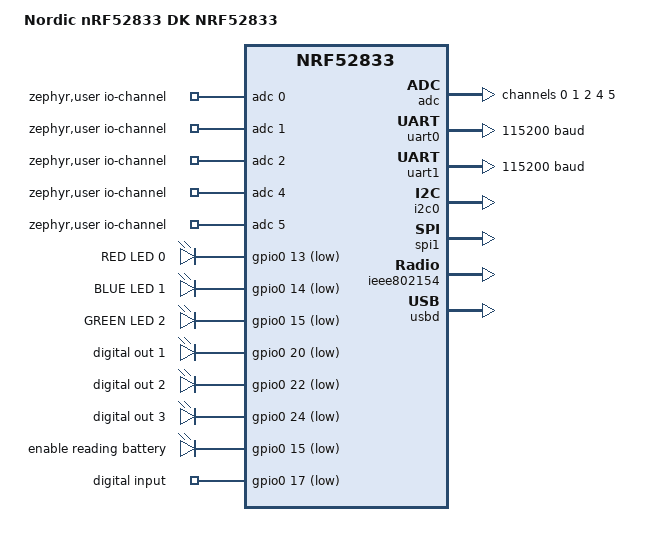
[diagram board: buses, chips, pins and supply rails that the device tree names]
/*
 * Copyright (c) 2019 Nordic Semiconductor ASA
 *
 * SPDX-License-Identifier: Apache-2.0
 */

/dts-v1/;
#include <nordic/nrf52833_qiaa.dtsi>
#include "tautek-pinctrl.dtsi"

/ {
	model = "Nordic nRF52833 DK NRF52833";
	compatible = "nordic,nrf52833-dk-nrf52833";

	chosen {
		zephyr,console = &uart0;
		zephyr,shell-uart = &uart0;
		zephyr,uart-mcumgr = &uart0;
		zephyr,bt-mon-uart = &uart0;
		zephyr,bt-c2h-uart = &uart0;
		zephyr,sram = &sram0;
		zephyr,flash = &flash0;
		zephyr,code-partition = &slot0_partition;
		zephyr,ieee802154 = &ieee802154;
	};

	zephyr,user {
		io-channels = <&adc 0>, <&adc 1>, <&adc 2>, <&adc 4>, <&adc 5>;
	};

	leds {
		compatible = "gpio-leds";
		red_led: red_led {
			gpios = <&gpio0 13 GPIO_ACTIVE_LOW>;
			label = "RED LED 0";
		};
		blue_led: blue_led {
			gpios = <&gpio0 14 GPIO_ACTIVE_LOW>;
			label = "BLUE LED 1";
		};
		green_led: green_led {
			gpios = <&gpio0 15 GPIO_ACTIVE_LOW>;
			label = "GREEN LED 2";
		};
		dout1: dout_1 {
			gpios = <&gpio0 20 GPIO_ACTIVE_LOW>;
			label = "digital out 1";
		};
		dout2: dout_2 {
			gpios = <&gpio0 22 GPIO_ACTIVE_LOW>;
			label = "digital out 2";
		};
		dout3: dout_3 {
			gpios = <&gpio0 24 GPIO_ACTIVE_LOW>;
			label = "digital out 3";
		};
		readbat: read_bat {
			gpios = <&gpio0 15 GPIO_ACTIVE_LOW>;
			label = "enable reading battery";
		};
	};

	buttons {
		compatible = "gpio-keys";
		din: din {
			gpios = <&gpio0 17 (GPIO_PULL_UP | GPIO_ACTIVE_LOW)>;
			label = "digital input";
		};
	};
	/* These aliases are provided for compatibility with samples */
	aliases {
		redled = &red_led;
		blueled = &blue_led;
		greenled = &green_led;
		din = &din;
		dout1 = &dout1;
		dout2 = &dout2;
		dout3 = &dout3;
		readbat = &readbat;
		bootloader-led0 = &red_led;
		mcuboot-button0 = &din;
		mcuboot-led0 = &red_led;
		watchdog0 = &wdt0;
	};
};

&adc {
	status = "okay";

	#address-cells = <1>;
	#size-cells = <0>;

	channel@0 { //input range is 0 - 3.6V
		reg = <0>;
		zephyr,gain = "ADC_GAIN_1_6";
		zephyr,reference = "ADC_REF_INTERNAL";
		zephyr,acquisition-time = <ADC_ACQ_TIME_DEFAULT>;
		zephyr,input-positive = <NRF_SAADC_AIN0>; /* P0.02 */
		zephyr,resolution = <12>;
	};

	channel@1 {
		reg = <1>;
		zephyr,gain = "ADC_GAIN_1_6";
		zephyr,reference = "ADC_REF_INTERNAL";
		zephyr,acquisition-time = <ADC_ACQ_TIME_DEFAULT>;
		zephyr,input-positive = <NRF_SAADC_AIN1>; /* P0.03 */
		zephyr,resolution = <12>;
	};

	channel@2 {
		reg = <2>;
		zephyr,gain = "ADC_GAIN_1_6";
		zephyr,reference = "ADC_REF_INTERNAL";
		zephyr,acquisition-time = <ADC_ACQ_TIME_DEFAULT>;
		zephyr,input-positive = <NRF_SAADC_AIN2>; /* P0.04 */
		zephyr,resolution = <12>;
	};

	channel@4 {
		reg = <4>;
		zephyr,gain = "ADC_GAIN_1_6";
		zephyr,reference = "ADC_REF_INTERNAL";
		zephyr,acquisition-time = <ADC_ACQ_TIME_DEFAULT>;
		zephyr,input-positive = <NRF_SAADC_AIN4>; /* P0.28 */
		zephyr,resolution = <12>;
	};

	channel@5 {
		reg = <5>;
		zephyr,gain = "ADC_GAIN_1_6";
		zephyr,reference = "ADC_REF_INTERNAL";
		zephyr,acquisition-time = <ADC_ACQ_TIME_DEFAULT>;
		zephyr,input-positive = <NRF_SAADC_AIN5>; /* P0.29 */
		zephyr,resolution = <12>;
	};
};

&gpiote {
	status = "okay";
};

&gpio0 {
	status = "okay";
};

&gpio1 {
	status = "okay";
};

&uart0 {
	compatible = "nordic,nrf-uarte";
	status = "okay";
	current-speed = <115200>;
	pinctrl-0 = <&uart0_default>;
	pinctrl-1 = <&uart0_sleep>;
	pinctrl-names = "default", "sleep";
};

arduino_serial: &uart1 {
	current-speed = <115200>;
	pinctrl-0 = <&uart1_default>;
	pinctrl-1 = <&uart1_sleep>;
	pinctrl-names = "default", "sleep";
};

arduino_i2c: &i2c0 {
	compatible = "nordic,nrf-twi";
	status = "okay";
	pinctrl-0 = <&i2c0_default>;
	pinctrl-1 = <&i2c0_sleep>;
	pinctrl-names = "default", "sleep";
};

&i2c1 {
	compatible = "nordic,nrf-twi";
	/* Cannot be used together with spi1. */
	/* status = "okay"; */
	pinctrl-0 = <&i2c1_default>;
	pinctrl-1 = <&i2c1_sleep>;
	pinctrl-names = "default", "sleep";
};

&spi1 {
	compatible = "nordic,nrf-spi";
	status = "okay";
	pinctrl-0 = <&spi1_default>;
	pinctrl-1 = <&spi1_sleep>;
	pinctrl-names = "default", "sleep";
};

&ieee802154 {
	status = "okay";
};

&flash0 {

	partitions {
		compatible = "fixed-partitions";
		#address-cells = <1>;
		#size-cells = <1>;

		boot_partition: partition@0 {
			label = "mcuboot";
			reg = <0x00000000 0xC000>;
		};
		slot0_partition: partition@c000 {
			label = "image-0";
			reg = <0x0000C000 0x37000>;
		};
		slot1_partition: partition@43000 {
			label = "image-1";
			reg = <0x00043000 0x37000>;
		};
		storage_partition: partition@7a000 {
			label = "storage";
			reg = <0x0007A000 0x00006000>;
		};
	};
};

zephyr_udc0: &usbd {
	compatible = "nordic,nrf-usbd";
	status = "okay";
};
